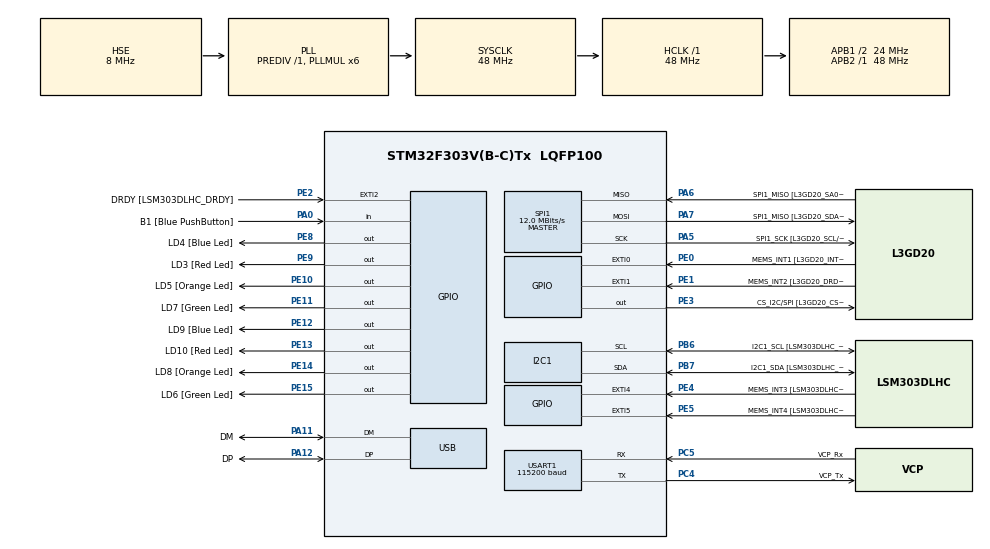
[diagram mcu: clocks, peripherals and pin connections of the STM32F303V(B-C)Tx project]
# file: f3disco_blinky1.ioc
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I2C1.Timing-I2C=0x2000090E
Mcu.Family=STM32F3
Mcu.Name=STM32F303V(B-C)Tx
Mcu.Package=LQFP100
NVIC.PriorityGroup=NVIC_PRIORITYGROUP_0
PA0.GPIO_Label=B1 [Blue PushButton]
PA0.Signal=GPIO_Input
PA11.GPIO_Label=DM
PA11.Mode=Device
PA11.Signal=USB_DM
PA12.GPIO_Label=DP
PA12.Mode=Device
PA12.Signal=USB_DP
PA13.GPIO_Label=SWDIO
PA13.Mode=Serial_Wire
PA13.Signal=SYS_JTMS-SWDIO
PA14.GPIO_Label=SWCLK
PA14.Mode=Serial_Wire
PA14.Signal=SYS_JTCK-SWCLK
PA5.GPIO_Label=SPI1_SCK [L3GD20_SCL/SPC]
PA5.Mode=Full_Duplex_Master
PA5.Signal=SPI1_SCK
PA6.GPIO_Label=SPI1_MISO [L3GD20_SA0/SDO]
PA6.Mode=Full_Duplex_Master
PA6.Signal=SPI1_MISO
PA7.GPIO_Label=SPI1_MISO [L3GD20_SDA/SDI/SDO]
PA7.Mode=Full_Duplex_Master
PA7.Signal=SPI1_MOSI
PB3.GPIO_Label=SWO
PB3.Signal=SYS_JTDO-TRACESWO
PB6.GPIO_Label=I2C1_SCL [LSM303DLHC_SCL]
PB6.GPIO_Pu=GPIO_PULLUP
PB6.Mode=I2C
PB6.Signal=I2C1_SCL
PB7.GPIO_Label=I2C1_SDA [LSM303DLHC_SDA]
PB7.GPIO_Pu=GPIO_PULLUP
PB7.Mode=I2C
PB7.Signal=I2C1_SDA
PC14-OSC32_IN.GPIO_Label=OSC32_IN
PC14-OSC32_IN.Signal=RCC_OSC32_IN
PC15-OSC32_OUT.GPIO_Label=OSC32_OUT
PC15-OSC32_OUT.Signal=RCC_OSC32_OUT
PC4.GPIO_Label=VCP_Tx
PC4.Mode=Asynchronous
PC4.Signal=USART1_TX
PC5.GPIO_Label=VCP_Rx
PC5.Mode=Asynchronous
PC5.Signal=USART1_RX
PE0.GPIO_Label=MEMS_INT1 [L3GD20_INT1]
PE0.GPIO_ModeDefaultEXTI=GPIO_MODE_EVT_RISING
PE0.Signal=GPXTI0
PE1.GPIO_Label=MEMS_INT2 [L3GD20_DRDY/INT2]
PE1.GPIO_ModeDefaultEXTI=GPIO_MODE_EVT_RISING
PE1.Signal=GPXTI1
PE10.GPIO_Label=LD5 [Orange Led]
PE10.Signal=GPIO_Output
PE11.GPIO_Label=LD7 [Green Led]
PE11.Signal=GPIO_Output
PE12.GPIO_Label=LD9 [Blue Led]
PE12.Signal=GPIO_Output
PE13.GPIO_Label=LD10 [Red Led]
PE13.Signal=GPIO_Output
PE14.GPIO_Label=LD8 [Orange Led]
PE14.Signal=GPIO_Output
PE15.GPIO_Label=LD6 [Green Led]
PE15.Signal=GPIO_Output
PE2.GPIO_Label=DRDY [LSM303DLHC_DRDY]
PE2.GPIO_ModeDefaultEXTI=GPIO_MODE_EVT_RISING
PE2.Signal=GPXTI2
PE3.GPIO_Label=CS_I2C/SPI [L3GD20_CS_I2C/SPI]
PE3.Signal=GPIO_Output
PE4.GPIO_Label=MEMS_INT3 [LSM303DLHC_INT1]
PE4.GPIO_ModeDefaultEXTI=GPIO_MODE_EVT_RISING
PE4.Signal=GPXTI4
PE5.GPIO_Label=MEMS_INT4 [LSM303DLHC_INT2]
PE5.GPIO_ModeDefaultEXTI=GPIO_MODE_EVT_RISING
PE5.Signal=GPXTI5
PE8.GPIO_Label=LD4 [Blue Led]
PE8.Signal=GPIO_Output
PE9.GPIO_Label=LD3 [Red Led]
PE9.Signal=GPIO_Output
PF0-OSC_IN.GPIO_Label=OSC_IN
PF0-OSC_IN.Mode=HSE-External-Clock-Source
PF0-OSC_IN.Signal=RCC_OSC_IN
PF1-OSC_OUT.GPIO_Label=OSC_OUT
PF1-OSC_OUT.Signal=RCC_OSC_OUT
ProjectManager.HeapSize=0x200
ProjectManager.StackSize=0x400
ProjectManager.TargetToolchain=STM32CubeIDE
RCC.AHBFreq_Value=48000000
RCC.APB1CLKDivider=RCC_HCLK_DIV2
RCC.APB1Freq_Value=24000000
RCC.APB1TimFreq_Value=48000000
RCC.APB2Freq_Value=48000000
RCC.APB2TimFreq_Value=48000000
RCC.CortexFreq_Value=48000000
RCC.HCLKFreq_Value=48000000
RCC.HSE_VALUE=8000000
RCC.HSI_VALUE=8000000
RCC.LSE_VALUE=32768
RCC.PLLMUL=RCC_PLL_MUL6
RCC.SYSCLKFreq_VALUE=48000000
RCC.SYSCLKSourceVirtual=RCC_SYSCLKSOURCE_PLLCLK
RCC.USBFreq_Value=48000000
SPI1.BaudRatePrescaler=SPI_BAUDRATEPRESCALER_4
SPI1.BaudRatePrescaler-Full_Duplex_Master=SPI_BAUDRATEPRESCALER_2
SPI1.CalculateBaudRate=12.0 MBits/s
SPI1.CalculateBaudRate-Full_Duplex_Master=24.0 MBits/s
SPI1.Direction=SPI_DIRECTION_2LINES
SPI1.Mode=SPI_MODE_MASTER
SPI1.Mode-Full_Duplex_Master=SPI_MODE_MASTER
SPI1.VirtualType=VM_MASTER
USART1.BaudRate=115200
USART1.VirtualMode-Asynchronous=VM_ASYNC
board=STM32F3DISCOVERY

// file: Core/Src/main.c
/* USER CODE BEGIN Header */
/**
  ******************************************************************************
  * @file           : main.c
  * @brief          : Main program body
  ******************************************************************************
  * @attention
  *
  * Copyright (c) 2023 STMicroelectronics.
  * All rights reserved.
  *
  * This software is licensed under terms that can be found in the LICENSE file
  * in the root directory of this software component.
  * If no LICENSE file comes with this software, it is provided AS-IS.
  *
  ******************************************************************************
  */
/* USER CODE END Header */
#include "main.h"
#include "i2c.h"
#include "spi.h"
#include "usart.h"
#include "usb.h"
#include "gpio.h"

/* USER CODE BEGIN Includes */
#include <stdio.h>
#include <string.h>
#include "LedRelated.h"
/* USER CODE END Includes */

void SystemClock_Config(void);
/* USER CODE BEGIN PFP */
void USART1_SendString(const char* str);
int __io_putchar(int ch);
int my_getchar(void);
/* USER CODE END PFP */

int main(void)
{

  /* MCU Configuration--------------------------------------------------------*/

  /* Reset of all peripherals, Initializes the Flash interface and the Systick. */
  HAL_Init();

  /* Configure the system clock */
  SystemClock_Config();

  /* Initialize all configured peripherals */
  MX_GPIO_Init();
  MX_I2C1_Init();
  MX_SPI1_Init();
  MX_USB_PCD_Init();
  MX_USART1_UART_Init();
  /* USER CODE BEGIN 2 */

  LedRoseSet();
  HAL_Delay(50);
  LedRoseToggle();

  USART1_SendString("Hello, World!\r\n");
  printf("Hi Brent\r\n");

  /* USER CODE END 2 */

  /* Infinite loop */
  while (1)
  {

	  /* USER CODE BEGIN 3 */

	 /*  Call my_getchar to read characters interactively
	  int ch;
	  while ((ch = my_getchar()) != EOF) {
	    __io_putchar(ch); // Print the character received
	  }*/
	  //this Disco board has 8 user LED's...
	  //blink one LED, toggling every 200 ms
	  //and every time through loop, check state of blue user button and light LED8 if it's pressed
	  //no debounce yet, no interrupts
	  if (HAL_GPIO_ReadPin(GPIOA, GPIO_PIN_0)) {
		  HAL_GPIO_WritePin(GPIOE, LD8_Orange_SW, 1);
	  }
	  else {
		  HAL_GPIO_WritePin(GPIOE, LD8_Orange_SW, 0);
	  }
	  HAL_GPIO_TogglePin(GPIOE, LD4_Blue_NW);  //blue, LD4
	  HAL_Delay(200);

  }
  /* USER CODE END 3 */
}

void SystemClock_Config(void)
{
  RCC_OscInitTypeDef RCC_OscInitStruct = {0};
  RCC_ClkInitTypeDef RCC_ClkInitStruct = {0};
  RCC_PeriphCLKInitTypeDef PeriphClkInit = {0};

  /** Initializes the RCC Oscillators according to the specified parameters
  * in the RCC_OscInitTypeDef structure.
  */
  RCC_OscInitStruct.OscillatorType = RCC_OSCILLATORTYPE_HSI|RCC_OSCILLATORTYPE_HSE;
  RCC_OscInitStruct.HSEState = RCC_HSE_BYPASS;
  RCC_OscInitStruct.HSEPredivValue = RCC_HSE_PREDIV_DIV1;
  RCC_OscInitStruct.HSIState = RCC_HSI_ON;
  RCC_OscInitStruct.HSICalibrationValue = RCC_HSICALIBRATION_DEFAULT;
  RCC_OscInitStruct.PLL.PLLState = RCC_PLL_ON;
  RCC_OscInitStruct.PLL.PLLSource = RCC_PLLSOURCE_HSE;
  RCC_OscInitStruct.PLL.PLLMUL = RCC_PLL_MUL6;
  if (HAL_RCC_OscConfig(&RCC_OscInitStruct) != HAL_OK)
  {
    Error_Handler();
  }

  /** Initializes the CPU, AHB and APB buses clocks
  */
  RCC_ClkInitStruct.ClockType = RCC_CLOCKTYPE_HCLK|RCC_CLOCKTYPE_SYSCLK
                              |RCC_CLOCKTYPE_PCLK1|RCC_CLOCKTYPE_PCLK2;
  RCC_ClkInitStruct.SYSCLKSource = RCC_SYSCLKSOURCE_PLLCLK;
  RCC_ClkInitStruct.AHBCLKDivider = RCC_SYSCLK_DIV1;
  RCC_ClkInitStruct.APB1CLKDivider = RCC_HCLK_DIV2;
  RCC_ClkInitStruct.APB2CLKDivider = RCC_HCLK_DIV1;

  if (HAL_RCC_ClockConfig(&RCC_ClkInitStruct, FLASH_LATENCY_1) != HAL_OK)
  {
    Error_Handler();
  }
  PeriphClkInit.PeriphClockSelection = RCC_PERIPHCLK_USB|RCC_PERIPHCLK_USART1
                              |RCC_PERIPHCLK_I2C1;
  PeriphClkInit.Usart1ClockSelection = RCC_USART1CLKSOURCE_PCLK2;
  PeriphClkInit.I2c1ClockSelection = RCC_I2C1CLKSOURCE_HSI;
  PeriphClkInit.USBClockSelection = RCC_USBCLKSOURCE_PLL;
  if (HAL_RCCEx_PeriphCLKConfig(&PeriphClkInit) != HAL_OK)
  {
    Error_Handler();
  }
}

/* USER CODE BEGIN 4 */
void USART1_SendString(const char* str) {
	HAL_UART_Transmit(&huart1, (uint8_t*)str, strlen(str), HAL_MAX_DELAY);
}

/**
  * @brief  Retargets the C library printf function to the USART.
  * @param  None
  * @retval None
  */
/*PUTCHAR_PROTOTYPE
{
   Place your implementation of fputc here
   e.g. write a character to the USART1 and Loop until the end of transmission
  HAL_UART_Transmit(&huart1, (uint8_t *)&ch, 1, 0xFFFF);

  return ch;
}*/

// these two functions are redefines that I added per Daniel
int __io_putchar(int ch){
	if (HAL_UART_Transmit(&huart1, (uint8_t*)&ch, 1, 0xFFFF) != HAL_OK)
		return -1;
	return 1;
}

int __io_getchar(void){
	int c;
	HAL_UART_Receive(&huart1, (uint8_t*)&c, 1, 0xFFFF);
	return c;
}

int my_getchar(void) {
	      return __io_getchar();
	  }
/* USER CODE END 4 */

void Error_Handler(void)
{
  __disable_irq();
  while (1)
  {
  }
}
